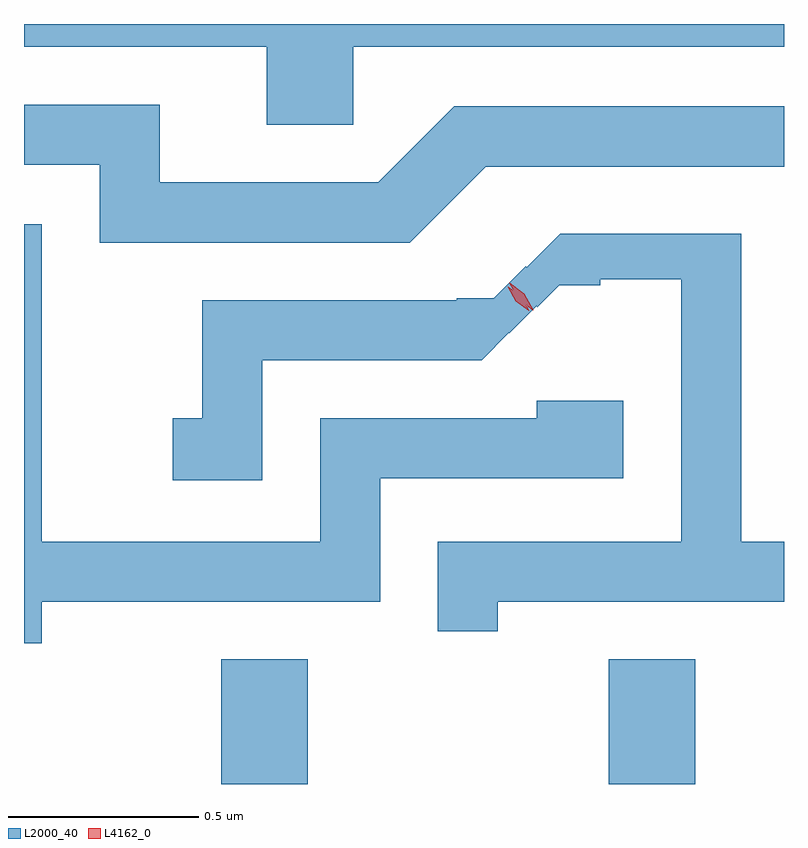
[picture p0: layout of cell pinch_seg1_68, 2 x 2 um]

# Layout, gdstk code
import gdstk
lib = gdstk.Library(unit=1e-6, precision=1e-09)
def R(c, l, rs):  # rectangles x0, y0, x1, y1
    for r in rs: c.add(gdstk.rectangle(r[:2], r[2:], *l))
def P(c, l, *ps):  # polygons
    for p in ps: c.add(gdstk.Polygon(p, *l))
L2000_40 = (2000, 40)
L4162_0 = (4162, 0)

pinch_seg1_68 = lib.new_cell('pinch_seg1_68')
R(pinch_seg1_68, L2000_40, [(1438.861,839.916,1439.089,840.244), (1439.881,839.916,1440.109,840.244)])
P(pinch_seg1_68, L2000_40, [(1439.209,841.856),(1440.342,841.856),(1440.342,841.916),(1438.342,841.916),(1438.342,841.856),(1438.981,841.856),(1438.981,841.651),(1439.209,841.651)],
  [(1439.557,841.541),(1440.342,841.541),(1440.342,841.699),(1439.474,841.699),(1439.274,841.499),(1438.699,841.499),(1438.699,841.704),(1438.342,841.704),(1438.342,841.546),(1438.541,841.546),(1438.541,841.341),(1439.357,841.341)],
  [(1438.389,840.396),(1439.279,840.396),(1439.279,840.721),(1439.919,840.721),(1439.919,840.924),(1439.691,840.924),(1439.691,840.879),(1439.121,840.879),(1439.121,840.554),(1438.389,840.554),(1438.389,841.389),(1438.342,841.389),(1438.342,840.286),(1438.389,840.286)],
  [(1439.589,840.396),(1440.342,840.396),(1440.342,840.554),(1440.229,840.554),(1440.229,841.364),(1439.753,841.364),(1439.665,841.276),(1439.663,841.279),(1439.578,841.194),(1439.481,841.194),(1439.481,841.189),(1438.811,841.189),(1438.811,840.879),(1438.733,840.879),(1438.733,840.716),(1438.969,840.716),(1438.969,841.031),(1439.546,841.031),(1439.618,841.103),(1439.619,841.102),(1439.691,841.174),(1439.693,841.171),(1439.75,841.228),(1439.858,841.228),(1439.858,841.244),(1440.071,841.244),(1440.071,840.554),(1439.431,840.554),(1439.431,840.318),(1439.589,840.318)])
P(pinch_seg1_68, L4162_0, [(1439.681,841.163),(1439.643,841.193),(1439.619,841.235),(1439.619,841.235),(1439.62,841.235),(1439.658,841.206),(1439.682,841.164),(1439.682,841.163)],
  [(1439.67,841.161),(1439.636,841.186),(1439.615,841.224),(1439.615,841.224),(1439.616,841.224),(1439.65,841.199),(1439.671,841.162),(1439.671,841.161)])

lib.write_gds('pinch_seg1_68.gds')
